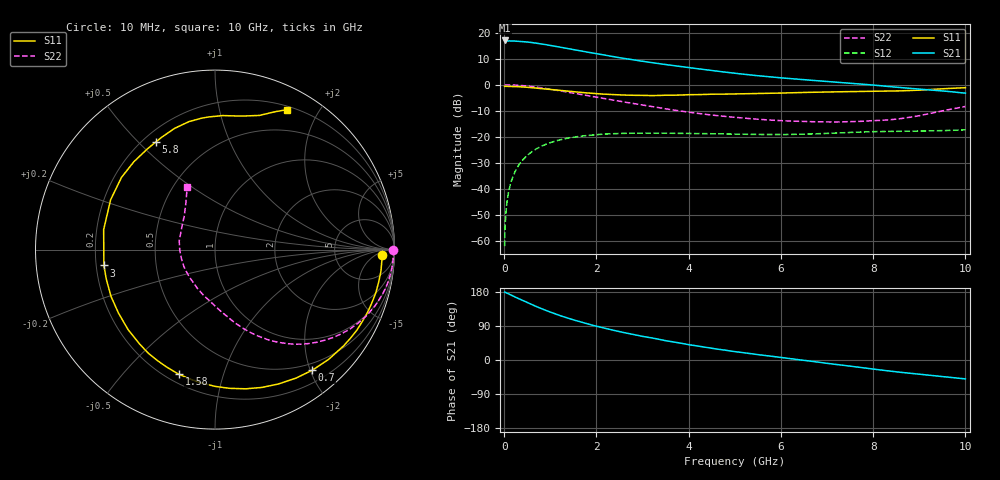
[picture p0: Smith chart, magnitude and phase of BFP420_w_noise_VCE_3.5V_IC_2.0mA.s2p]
! Infineon Technologies  Discrete & RF Semiconductors
! BFP420
! VCE =  3.5 V,  IC =  2.0 mA
! Common Emitter S-Parameters:  Jan 2016
# GHz  S  MA  R  50
!  f  S11  S21  S12  S22
! GHz  MAG  ANG  MAG  ANG  MAG  ANG  MAG  ANG
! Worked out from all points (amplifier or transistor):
!   233 points, 10 MHz to 10 GHz, reference 50 ohm
!   highest |S21| = 17.0 dB at 10 MHz (marker M1)
!   |S21| within 3 dB of that: start of sweep to 1.346 GHz
!   unconditionally stable (mu >= 1): 3.909 GHz to end of sweep
!   at 200 MHz: K = 0.04, MSG = 25.8 dB, |S12| = -34.8 dB
!   at 1.74 GHz: K = 0.35, MSG = 16.1 dB, |S12| = -19.6 dB
!   at 10 GHz: K = 1.22, MAG = 4.2 dB, |S12| = -17.3 dB
!   lowest NFmin = 0.53 dB at 900 MHz
!   S11 on the Smith chart (normalised r, x): 10 MHz: 24, -10; 700 MHz: 0.39, -2.03; 1.58 GHz: 0.25, -0.72; 3 GHz: 0.23, -0.07; 5.8 GHz: 0.25, +0.56; 10 GHz: 0.24, +1.62
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0.01  0.9316 -1.8  7.071 179.3  0.0008 82.3  0.9938 0.0
0.02  0.9332 -1.4  6.873 179.0  0.0019 78.5  0.9946 -0.8
0.05  0.9318 -3.7  6.909 177.0  0.0046 83.0  0.9947 -1.9
0.16  0.929 -11.8  6.925 170.7  0.0146 82.5  0.99 -6.4
0.38  0.9105 -28.1  6.759 158.3  0.0341 73.7  0.9644 -15.1
0.56  0.8846 -41.1  6.508 148.3  0.0487 66.5  0.9301 -21.9
0.7  0.8633 -51.1  6.286 140.9  0.059 61.3  0.8986 -26.9
0.9  0.8283 -64.6  5.891 131.0  0.0718 54.1  0.8474 -33.5
1.1  0.7944 -77.5  5.486 122.0  0.0826 47.7  0.7941 -39.4
1.38  0.7492 -94.7  4.943 110.4  0.0944 39.5  0.7204 -46.9
1.58  0.7229 -105.9  4.587 103.1  0.1008 34.4  0.6707 -51.5
1.68  0.7095 -111.4  4.422 99.5  0.1036 32.0  0.6473 -53.7
2.24  0.654 -139.2  3.609 82.1  0.1137 20.8  0.5308 -64.2
2.6  0.6353 -155.8  3.198 72.2  0.1168 14.6  0.4668 -70.3
3  0.6253 -171.9  2.819 62.4  0.118 9.2  0.4073 -76.4
3.4  0.6242 173.4  2.508 53.5  0.1176 4.7  0.3566 -82.8
4.5  0.6585 142.2  1.877 30.7  0.1149 -3.9  0.2621 -104.2
5.1  0.667 130.8  1.624 20.7  0.1125 -6.5  0.2327 -116.4
5.8  0.6842 118.8  1.407 9.8  0.1107 -8.0  0.209 -132.5
6.8  0.7202 104.2  1.192 -5.5  0.1148 -9.0  0.1943 -158.1
8.4  0.7551 80.3  0.914 -29.8  0.1273 -15.7  0.2144 152.4
10  0.8775 62.7  0.689 -49.9  0.1363 -20.7  0.383 113.9
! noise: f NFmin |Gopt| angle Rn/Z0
0.9  0.53  0.47  33  0.22
1.8  1.03  0.29  77  0.17
2.4  1.13  0.31  102  0.16
3  1.32  0.31  136  0.12
4  1.57  0.37  -168  0.1
5  1.96  0.42  -129  0.28
6  2.72  0.51  -111  0.37
